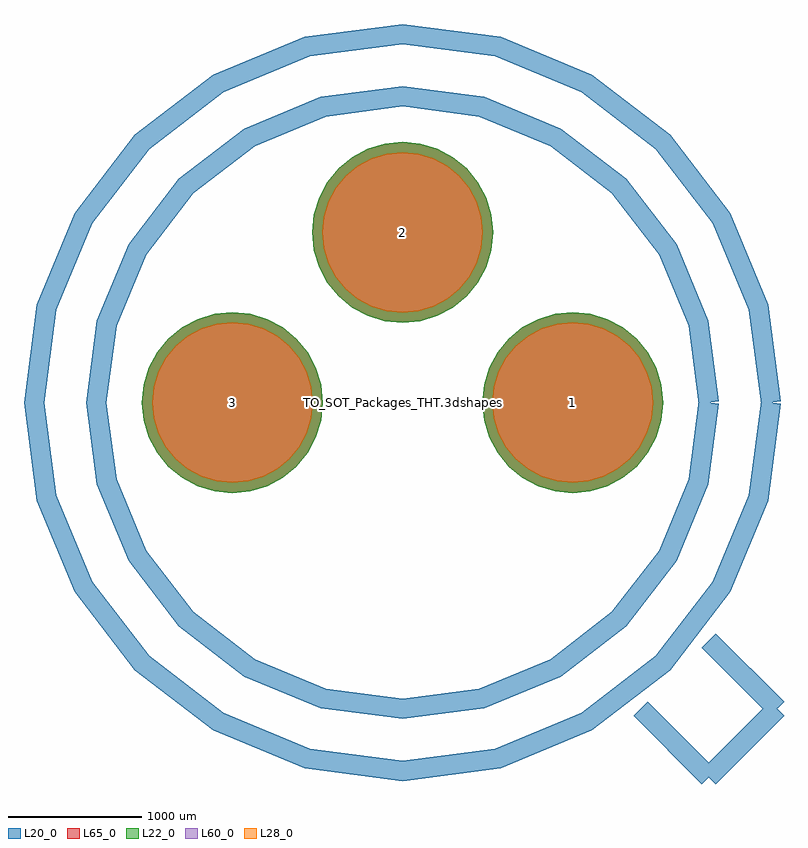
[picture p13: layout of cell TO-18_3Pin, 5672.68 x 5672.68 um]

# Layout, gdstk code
import gdstk
lib = gdstk.Library(unit=1e-6, precision=1e-09)
def P(c, l, *ps):  # polygons
    for p in ps: c.add(gdstk.Polygon(p, *l))
L20_0 = (20, 0)
L22_0 = (22, 0)
L28_0 = (28, 0)
L60_0 = (60, 0)
L65_0 = (65, 0)

to_18_3pin = lib.new_cell('TO-18_3Pin')
P(to_18_3pin, L22_0, [(-595,0),(-607.97,131.686),(-646.381,258.311),(-708.758,375.01),(-792.703,477.297),(-894.99,561.242),(-1011.689,623.619),(-1138.314,662.03),(-1270,675),(-1401.686,662.03),(-1528.311,623.619),(-1645.01,561.242),(-1747.297,477.297),(-1831.242,375.01),(-1893.619,258.311),(-1932.03,131.686),(-1945,0),(-1932.03,-131.686),(-1893.619,-258.311),(-1831.242,-375.01),(-1747.297,-477.297),(-1645.01,-561.242),(-1528.311,-623.619),(-1401.686,-662.03),(-1270,-675),(-1138.314,-662.03),(-1011.689,-623.619),(-894.99,-561.242),(-792.703,-477.297),(-708.758,-375.01),(-646.381,-258.311),(-607.97,-131.686)],
  [(675,1270),(662.03,1401.686),(623.619,1528.311),(561.242,1645.01),(477.297,1747.297),(375.01,1831.242),(258.311,1893.619),(131.686,1932.03),(0,1945),(-131.686,1932.03),(-258.311,1893.619),(-375.01,1831.242),(-477.297,1747.297),(-561.242,1645.01),(-623.619,1528.311),(-662.03,1401.686),(-675,1270),(-662.03,1138.314),(-623.619,1011.689),(-561.242,894.99),(-477.297,792.703),(-375.01,708.758),(-258.311,646.381),(-131.686,607.97),(0,595),(131.686,607.97),(258.311,646.381),(375.01,708.758),(477.297,792.703),(561.242,894.99),(623.619,1011.689),(662.03,1138.314)],
  [(1945,0),(1932.03,131.686),(1893.619,258.311),(1831.242,375.01),(1747.297,477.297),(1645.01,561.242),(1528.311,623.619),(1401.686,662.03),(1270,675),(1138.314,662.03),(1011.689,623.619),(894.99,561.242),(792.703,477.297),(708.758,375.01),(646.381,258.311),(607.97,131.686),(595,0),(607.97,-131.686),(646.381,-258.311),(708.758,-375.01),(792.703,-477.297),(894.99,-561.242),(1011.689,-623.619),(1138.314,-662.03),(1270,-675),(1401.686,-662.03),(1528.311,-623.619),(1645.01,-561.242),(1747.297,-477.297),(1831.242,-375.01),(1893.619,-258.311),(1932.03,-131.686)])
P(to_18_3pin, L28_0, [(-670,0),(-681.529,117.054),(-715.672,229.61),(-771.118,333.342),(-845.736,424.264),(-936.658,498.882),(-1040.39,554.328),(-1152.946,588.471),(-1270,600),(-1387.054,588.471),(-1499.61,554.328),(-1603.342,498.882),(-1694.264,424.264),(-1768.882,333.342),(-1824.328,229.61),(-1858.471,117.054),(-1870,0),(-1858.471,-117.054),(-1824.328,-229.61),(-1768.882,-333.342),(-1694.264,-424.264),(-1603.342,-498.882),(-1499.61,-554.328),(-1387.054,-588.471),(-1270,-600),(-1152.946,-588.471),(-1040.39,-554.328),(-936.658,-498.882),(-845.736,-424.264),(-771.118,-333.342),(-715.672,-229.61),(-681.529,-117.054)],
  [(600,1270),(588.471,1387.054),(554.328,1499.61),(498.882,1603.342),(424.264,1694.264),(333.342,1768.882),(229.61,1824.328),(117.054,1858.471),(0,1870),(-117.054,1858.471),(-229.61,1824.328),(-333.342,1768.882),(-424.264,1694.264),(-498.882,1603.342),(-554.328,1499.61),(-588.471,1387.054),(-600,1270),(-588.471,1152.946),(-554.328,1040.39),(-498.882,936.658),(-424.264,845.736),(-333.342,771.118),(-229.61,715.672),(-117.054,681.529),(0,670),(117.054,681.529),(229.61,715.672),(333.342,771.118),(424.264,845.736),(498.882,936.658),(554.328,1040.39),(588.471,1152.946)],
  [(1870,0),(1858.471,117.054),(1824.328,229.61),(1768.882,333.342),(1694.264,424.264),(1603.342,498.882),(1499.61,554.328),(1387.054,588.471),(1270,600),(1152.946,588.471),(1040.39,554.328),(936.658,498.882),(845.736,424.264),(771.118,333.342),(715.672,229.61),(681.529,117.054),(670,0),(681.529,-117.054),(715.672,-229.61),(771.118,-333.342),(845.736,-424.264),(936.658,-498.882),(1040.39,-554.328),(1152.946,-588.471),(1270,-600),(1387.054,-588.471),(1499.61,-554.328),(1603.342,-498.882),(1694.264,-424.264),(1768.882,-333.342),(1824.328,-229.61),(1858.471,-117.054)])
P(to_18_3pin, L60_0, [(-670,0),(-681.529,117.054),(-715.672,229.61),(-771.118,333.342),(-845.736,424.264),(-936.658,498.882),(-1040.39,554.328),(-1152.946,588.471),(-1270,600),(-1387.054,588.471),(-1499.61,554.328),(-1603.342,498.882),(-1694.264,424.264),(-1768.882,333.342),(-1824.328,229.61),(-1858.471,117.054),(-1870,0),(-1858.471,-117.054),(-1824.328,-229.61),(-1768.882,-333.342),(-1694.264,-424.264),(-1603.342,-498.882),(-1499.61,-554.328),(-1387.054,-588.471),(-1270,-600),(-1152.946,-588.471),(-1040.39,-554.328),(-936.658,-498.882),(-845.736,-424.264),(-771.118,-333.342),(-715.672,-229.61),(-681.529,-117.054)],
  [(600,1270),(588.471,1387.054),(554.328,1499.61),(498.882,1603.342),(424.264,1694.264),(333.342,1768.882),(229.61,1824.328),(117.054,1858.471),(0,1870),(-117.054,1858.471),(-229.61,1824.328),(-333.342,1768.882),(-424.264,1694.264),(-498.882,1603.342),(-554.328,1499.61),(-588.471,1387.054),(-600,1270),(-588.471,1152.946),(-554.328,1040.39),(-498.882,936.658),(-424.264,845.736),(-333.342,771.118),(-229.61,715.672),(-117.054,681.529),(0,670),(117.054,681.529),(229.61,715.672),(333.342,771.118),(424.264,845.736),(498.882,936.658),(554.328,1040.39),(588.471,1152.946)],
  [(1870,0),(1858.471,117.054),(1824.328,229.61),(1768.882,333.342),(1694.264,424.264),(1603.342,498.882),(1499.61,554.328),(1387.054,588.471),(1270,600),(1152.946,588.471),(1040.39,554.328),(936.658,498.882),(845.736,424.264),(771.118,333.342),(715.672,229.61),(681.529,117.054),(670,0),(681.529,-117.054),(715.672,-229.61),(771.118,-333.342),(845.736,-424.264),(936.658,-498.882),(1040.39,-554.328),(1152.946,-588.471),(1270,-600),(1387.054,-588.471),(1499.61,-554.328),(1603.342,-498.882),(1694.264,-424.264),(1768.882,-333.342),(1824.328,-229.61),(1858.471,-117.054)])
P(to_18_3pin, L65_0, [(-595,0),(-607.97,131.686),(-646.381,258.311),(-708.758,375.01),(-792.703,477.297),(-894.99,561.242),(-1011.689,623.619),(-1138.314,662.03),(-1270,675),(-1401.686,662.03),(-1528.311,623.619),(-1645.01,561.242),(-1747.297,477.297),(-1831.242,375.01),(-1893.619,258.311),(-1932.03,131.686),(-1945,0),(-1932.03,-131.686),(-1893.619,-258.311),(-1831.242,-375.01),(-1747.297,-477.297),(-1645.01,-561.242),(-1528.311,-623.619),(-1401.686,-662.03),(-1270,-675),(-1138.314,-662.03),(-1011.689,-623.619),(-894.99,-561.242),(-792.703,-477.297),(-708.758,-375.01),(-646.381,-258.311),(-607.97,-131.686)],
  [(675,1270),(662.03,1401.686),(623.619,1528.311),(561.242,1645.01),(477.297,1747.297),(375.01,1831.242),(258.311,1893.619),(131.686,1932.03),(0,1945),(-131.686,1932.03),(-258.311,1893.619),(-375.01,1831.242),(-477.297,1747.297),(-561.242,1645.01),(-623.619,1528.311),(-662.03,1401.686),(-675,1270),(-662.03,1138.314),(-623.619,1011.689),(-561.242,894.99),(-477.297,792.703),(-375.01,708.758),(-258.311,646.381),(-131.686,607.97),(0,595),(131.686,607.97),(258.311,646.381),(375.01,708.758),(477.297,792.703),(561.242,894.99),(623.619,1011.689),(662.03,1138.314)],
  [(1945,0),(1932.03,131.686),(1893.619,258.311),(1831.242,375.01),(1747.297,477.297),(1645.01,561.242),(1528.311,623.619),(1401.686,662.03),(1270,675),(1138.314,662.03),(1011.689,623.619),(894.99,561.242),(792.703,477.297),(708.758,375.01),(646.381,258.311),(607.97,131.686),(595,0),(607.97,-131.686),(646.381,-258.311),(708.758,-375.01),(792.703,-477.297),(894.99,-561.242),(1011.689,-623.619),(1138.314,-662.03),(1270,-675),(1401.686,-662.03),(1528.311,-623.619),(1645.01,-561.242),(1747.297,-477.297),(1831.242,-375.01),(1893.619,-258.311),(1932.03,-131.686)])
to_18_3pin.add(gdstk.FlexPath([(2750,0),(2656.296,711.752),(2381.57,1375),(1944.544,1944.544),(1375,2381.57),(711.752,2656.296),(0,2750),(-711.752,2656.296),(-1375,2381.57),(-1944.544,1944.544),(-2381.57,1375),(-2656.296,711.752),(-2750,0),(-2656.296,-711.752),(-2381.57,-1375),(-1944.544,-1944.544),(-1375,-2381.57),(-711.752,-2656.296),(0,-2750),(711.752,-2656.296),(1375,-2381.57),(1944.544,-1944.544),(2381.57,-1375),(2656.296,-711.752),(2750,0)], 149.998, ends="flush", simple_path=True, layer=20, datatype=0))  # L20_0
to_18_3pin.add(gdstk.FlexPath([(2286,0),(2208.106,591.66),(1979.734,1143),(1616.446,1616.446),(1143,1979.734),(591.66,2208.106),(0,2286),(-591.66,2208.106),(-1143,1979.734),(-1616.446,1616.446),(-1979.734,1143),(-2208.106,591.66),(-2286,0),(-2208.106,-591.66),(-1979.734,-1143),(-1616.446,-1616.446),(-1143,-1979.734),(-591.66,-2208.106),(0,-2286),(591.66,-2208.106),(1143,-1979.734),(1616.446,-1616.446),(1979.734,-1143),(2208.106,-591.66),(2286,0)], 149.998, ends="flush", simple_path=True, layer=20, datatype=0))  # L20_0
to_18_3pin.add(gdstk.FlexPath([(2286,-2794),(2794,-2286)], 149.998, ends="flush", simple_path=True, layer=20, datatype=0))  # L20_0
to_18_3pin.add(gdstk.FlexPath([(1778,-2286),(2286,-2794)], 149.998, ends="flush", simple_path=True, layer=20, datatype=0))  # L20_0
to_18_3pin.add(gdstk.FlexPath([(2794,-2286),(2286,-1778)], 149.998, ends="flush", simple_path=True, layer=20, datatype=0))  # L20_0
to_18_3pin.add(gdstk.Label('TO_SOT_Packages_THT.3dshapes/TO-18_3Pin.wrl', (0,0), layer=12, texttype=0))
to_18_3pin.add(gdstk.Label('3', (-1270,0), layer=28, texttype=0))
to_18_3pin.add(gdstk.Label('2', (0,1270), layer=28, texttype=0))
to_18_3pin.add(gdstk.Label('1', (1270,0), layer=28, texttype=0))
to_18_3pin.add(gdstk.Label('type', (0,-4826), layer=9, texttype=0))
to_18_3pin.add(gdstk.Label('devicename', (254,4826), layer=9, texttype=0))

lib.write_gds('TO-18_3Pin.gds')
